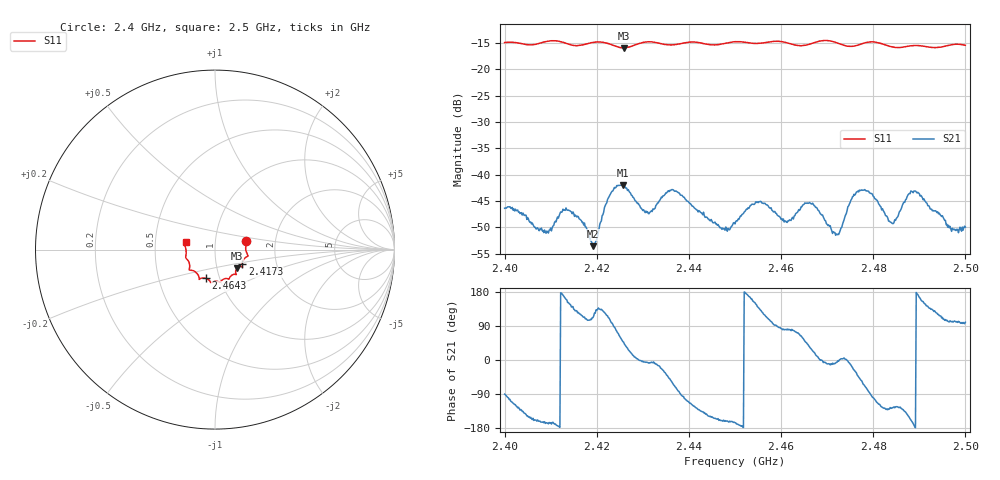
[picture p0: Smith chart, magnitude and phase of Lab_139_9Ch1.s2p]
# Hz S RI R 50
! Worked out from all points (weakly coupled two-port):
!   601 points, 2.4 GHz to 2.5 GHz, reference 50 ohm
!   highest |S21| = -41.93 dB at 2.4257 GHz (marker M1); lowest = -53.6 dB at 2.4192 GHz (marker M2)
!   lowest |S11| = -15.9 dB at 2.4258 GHz (marker M3), VSWR 1.38, Z = 62.4 - j13.3 ohm
!   |S11| at or under -10 dB: start of sweep to end of sweep
!   S12 and S22 are empty: the file has one direction only
!   S11 on the Smith chart (normalised r, x): 2.4 GHz: 1.41, +0.14; 2.4173 GHz: 1.34, -0.23; 2.4643 GHz: 0.86, -0.28; 2.5 GHz: 0.72, +0.06
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2.4e9  0.1729 0.049  -7.24e-06 -0.0048  0 0  0 0
2.409e9  0.1818 -0.0288  -0.00269 -0.000696  0 0  0 0
2.413e9  0.1741 -0.0416  -0.00447 0.00116  0 0  0 0
2.416667e9  0.1527 -0.0745  -0.00171 0.00324  0 0  0 0
2.417333e9  0.1519 -0.0819  -0.00138 0.00319  0 0  0 0
2.419167e9  0.153 -0.096  -0.000776 0.00195  0 0  0 0
2.422833e9  0.1467 -0.0939  -0.00185 0.00611  0 0  0 0
2.425667e9  0.1233 -0.1025  0.0053 0.00601  0 0  0 0
2.425833e9  0.1223 -0.1036  0.00534 0.00571  0 0  0 0
2.430833e9  0.1186 -0.1388  0.00437 -0.000435  0 0  0 0
2.433333e9  0.1129 -0.1376  0.00522 -0.00138  0 0  0 0
2.436667e9  0.089 -0.1465  0.00298 -0.0065  0 0  0 0
2.45e9  0.0288 -0.1811  -0.0033 -0.000858  0 0  0 0
2.455e9  0.00175 -0.1767  -0.00413 0.00353  0 0  0 0
2.461167e9  -0.0269 -0.1775  0.000628 0.00348  0 0  0 0
2.464333e9  -0.0498 -0.1603  0.00218 0.00445  0 0  0 0
2.466667e9  -0.0758 -0.1593  0.00468 0.00242  0 0  0 0
2.472e9  -0.0883 -0.1563  0.00272 -0.00029  0 0  0 0
2.477167e9  -0.1284 -0.1158  0.0045 -0.00545  0 0  0 0
2.483333e9  -0.1407 -0.0897  -0.00229 -0.00282  0 0  0 0
2.488667e9  -0.1618 -0.0471  -0.00659 -0.00143  0 0  0 0
2.5e9  -0.1641 0.0426  -0.000533 0.00314  0 0  0 0
